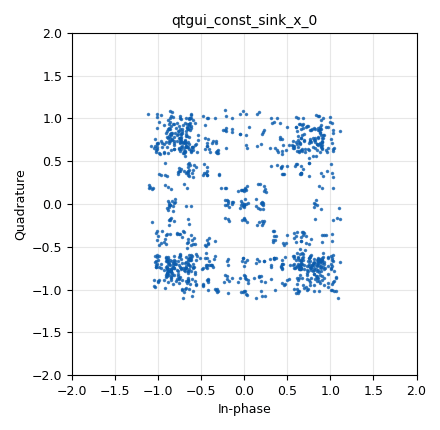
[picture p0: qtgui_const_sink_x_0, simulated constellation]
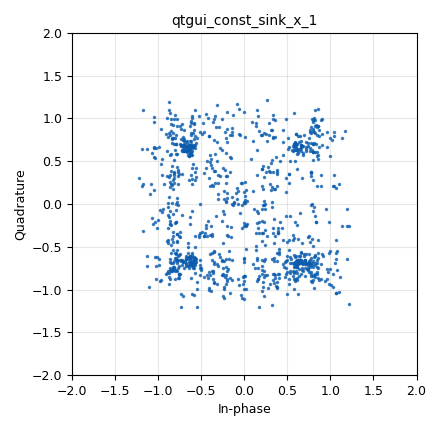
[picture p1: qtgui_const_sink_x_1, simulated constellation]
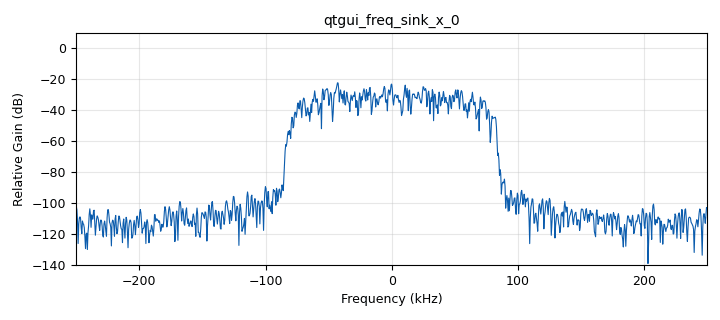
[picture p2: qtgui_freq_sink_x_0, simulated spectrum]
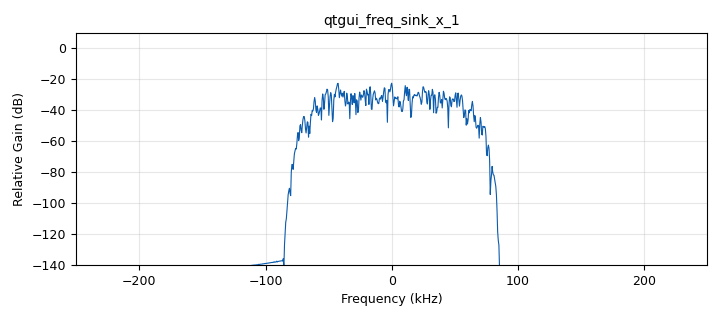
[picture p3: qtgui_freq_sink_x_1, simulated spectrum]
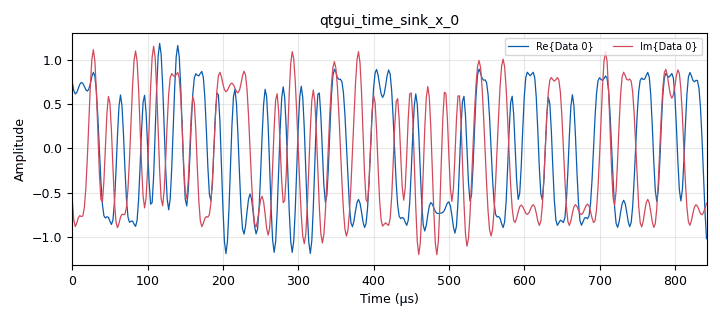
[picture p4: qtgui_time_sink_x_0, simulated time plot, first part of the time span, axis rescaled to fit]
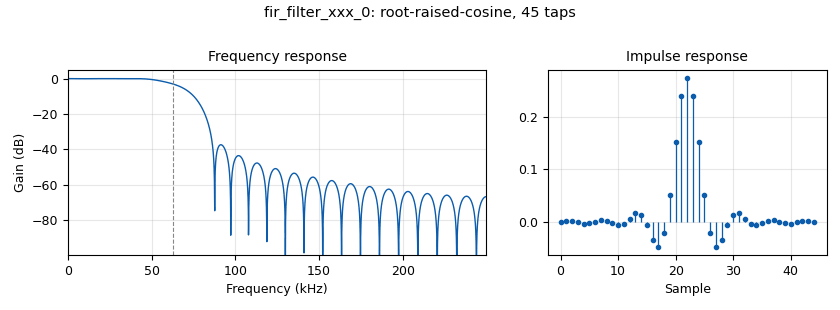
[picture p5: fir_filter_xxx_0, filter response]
options:
  parameters:
    author: ild27
    generate_options: qt_gui
    id: qpsk_tx
    output_language: python
    title: qpsk_tx
  states: {}

blocks:
- name: eb
  id: variable_qtgui_range
  parameters:
    label: eb
    orient: Qt.Horizontal
    start: '0.05'
    step: '0.05'
    stop: '2'
    value: '0.350'
  states: {}
- name: gain
  id: variable_qtgui_range
  parameters:
    orient: Qt.Horizontal
    start: '0'
    step: '5'
    stop: '100'
    value: '15'
  states: {}
- name: mod
  id: variable_constellation_rect
  parameters:
    const_points: '[-0.707-0.707j, -0.707+0.707j, 0.707+0.707j, 0.707-0.707j]'
    imag_sect: '2'
    real_sect: '2'
    rot_sym: '4'
    sym_map: '[0, 1, 3, 2]'
    w_imag_sect: '1'
    w_real_sect: '1'
  states: {}
- name: rrc_taps
  id: variable
  parameters:
    value: firdes.root_raised_cosine(1.0,samp_rate,samp_rate/sps,eb,11*sps)
  states: {}
- name: samp_rate
  id: variable_qtgui_range
  parameters:
    orient: Qt.Horizontal
    start: '500000'
    step: '500000'
    stop: '10000000'
    value: '500000'
  states: {}
- name: sps
  id: variable
  parameters:
    value: '4'
  states: {}
- name: analog_random_source_x_0
  id: analog_random_source_x
  parameters:
    max: '225'
    min: '0'
    num_samps: '1000'
    repeat: 'True'
    type: byte
  states: {}
- name: digital_constellation_modulator_0
  id: digital_constellation_modulator
  parameters:
    constellation: mod
    differential: 'True'
    excess_bw: eb
    samples_per_symbol: sps
  states: {}
- name: fir_filter_xxx_0
  id: fir_filter_xxx
  parameters:
    decim: '1'
    taps: rrc_taps
    type: ccc
  states: {}
- name: interp_fir_filter_xxx_0
  id: interp_fir_filter_xxx
  parameters:
    interp: '1'
    taps: rrc_taps
    type: ccc
  states: {}
- name: qtgui_const_sink_x_0
  id: qtgui_const_sink_x
  parameters:
    size: '1024'
    type: complex
  states: {}
- name: qtgui_const_sink_x_1
  id: qtgui_const_sink_x
  parameters:
    size: '1024'
    type: complex
  states: {}
- name: qtgui_freq_sink_x_0
  id: qtgui_freq_sink_x
  parameters:
    bw: samp_rate
    fc: '0'
    fftsize: '1024'
    type: complex
    wintype: firdes.WIN_BLACKMAN_hARRIS
  states: {}
- name: qtgui_freq_sink_x_1
  id: qtgui_freq_sink_x
  parameters:
    bw: samp_rate
    fc: '0'
    fftsize: '1024'
    type: complex
    wintype: firdes.WIN_BLACKMAN_hARRIS
  states: {}
- name: qtgui_time_sink_x_0
  id: qtgui_time_sink_x
  parameters:
    size: '1024'
    srate: samp_rate
    type: complex
  states: {}
- name: uhd_usrp_sink_0
  id: uhd_usrp_sink
  parameters:
    ant0: TX/RX
    bw0: '20000000'
    center_freq0: 1313e6
    dev_addr: addr=192.168.10.2
    dev_args: '""'
    gain0: gain
    len_tag_name: ''
    norm_gain0: 'False'
    samp_rate: samp_rate
    sync: sync
    type: fc32
  states: {}

connections:
- [analog_random_source_x_0, '0', digital_constellation_modulator_0, '0']
- [digital_constellation_modulator_0, '0', interp_fir_filter_xxx_0, '0']
- [digital_constellation_modulator_0, '0', qtgui_const_sink_x_0, '0']
- [digital_constellation_modulator_0, '0', qtgui_freq_sink_x_0, '0']
- [fir_filter_xxx_0, '0', qtgui_const_sink_x_1, '0']
- [fir_filter_xxx_0, '0', qtgui_freq_sink_x_1, '0']
- [fir_filter_xxx_0, '0', qtgui_time_sink_x_0, '0']
- [fir_filter_xxx_0, '0', uhd_usrp_sink_0, '0']
- [interp_fir_filter_xxx_0, '0', fir_filter_xxx_0, '0']

metadata:
  file_format: 1
